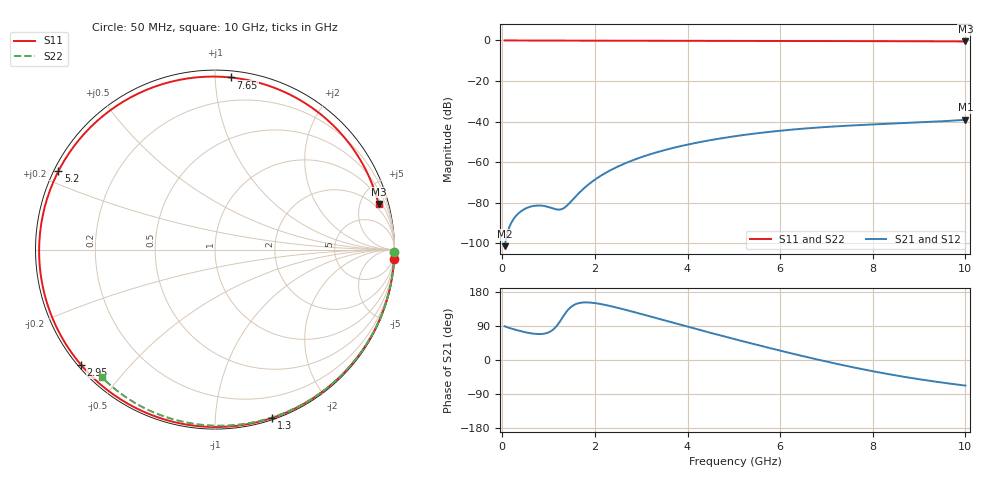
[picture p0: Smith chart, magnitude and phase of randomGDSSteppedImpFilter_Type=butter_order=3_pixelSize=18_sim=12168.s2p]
! freq	dB(S11)	phase(S11)	dB(S12)	phase(S12)
!  dB(S21)	phase(S21)	dB(S22)	phase(S22)
!S-par simulation data
#  GHz  S  DB  R 50
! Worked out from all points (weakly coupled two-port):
!   200 points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, 50 MHz to 10 GHz, reference 50 ohm
!   highest |S21| = -39.16 dB at 10 GHz (marker M1); lowest = -101.5 dB at 50 MHz (marker M2)
!   lowest |S11| = -0.5 dB at 10 GHz (marker M3), VSWR 35.92, Z = 72.5 + j350 ohm
!   |S11| at or under -10 dB: nowhere
!   |S22| runs from -0.4 to 0.0 dB; largest |S21 - S12| = 0
!   S11 on the Smith chart (normalised r, x): 50 MHz: 0, -39; 1.3 GHz: 0.01, -1.39; 2.95 GHz: 0.01, -0.37; 5.2 GHz: 0.01, +0.24; 7.65 GHz: 0.04, +1.10; 10 GHz: 1.45, +7.00
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0.05  -0.00 -3.0  -101.52 89.0  -101.52 89.0  -0.00 -0.8
0.35  -0.03 -20.4  -85.32 77.6  -85.32 77.6  -0.01 -5.3
0.7  -0.05 -40.1  -81.58 69.1  -81.58 69.1  -0.01 -10.6
1  -0.07 -56.2  -82.21 72.9  -82.21 72.9  -0.02 -15.1
1.3  -0.08 -71.4  -83.11 112.2  -83.11 112.2  -0.02 -19.6
1.45  -0.09 -78.7  -80.30 136.4  -80.30 136.4  -0.03 -21.8
1.75  -0.10 -92.5  -73.25 151.8  -73.25 151.8  -0.03 -26.2
2  -0.11 -103.3  -68.70 150.2  -68.70 150.2  -0.04 -29.9
2.25  -0.11 -113.5  -65.11 144.6  -65.11 144.6  -0.04 -33.5
2.95  -0.13 -139.2  -58.01 123.1  -58.01 123.1  -0.06 -43.6
3.4  -0.15 -154.1  -54.77 108.0  -54.77 108.0  -0.07 -49.9
3.8  -0.16 -166.5  -52.43 94.7  -52.43 94.7  -0.08 -55.5
4.2  -0.17 -178.4  -50.46 81.4  -50.46 81.4  -0.09 -60.9
5.05  -0.21 157.5  -47.18 54.0  -47.18 54.0  -0.11 -72.3
5.2  -0.21 153.3  -46.70 49.3  -46.70 49.3  -0.12 -74.2
6  -0.25 131.2  -44.55 24.7  -44.55 24.7  -0.15 -84.5
6.7  -0.28 111.8  -43.16 4.2  -43.16 4.2  -0.18 -93.1
7.2  -0.31 97.6  -42.40 -9.5  -42.40 -9.5  -0.21 -99.2
7.65  -0.33 84.7  -41.84 -21.2  -41.84 -21.2  -0.24 -104.6
8.35  -0.36 64.3  -41.10 -37.5  -41.10 -37.5  -0.29 -112.8
9.2  -0.41 39.1  -40.23 -54.4  -40.23 -54.4  -0.36 -122.5
10  -0.48 15.6  -39.16 -67.5  -39.16 -67.5  -0.45 -131.6
